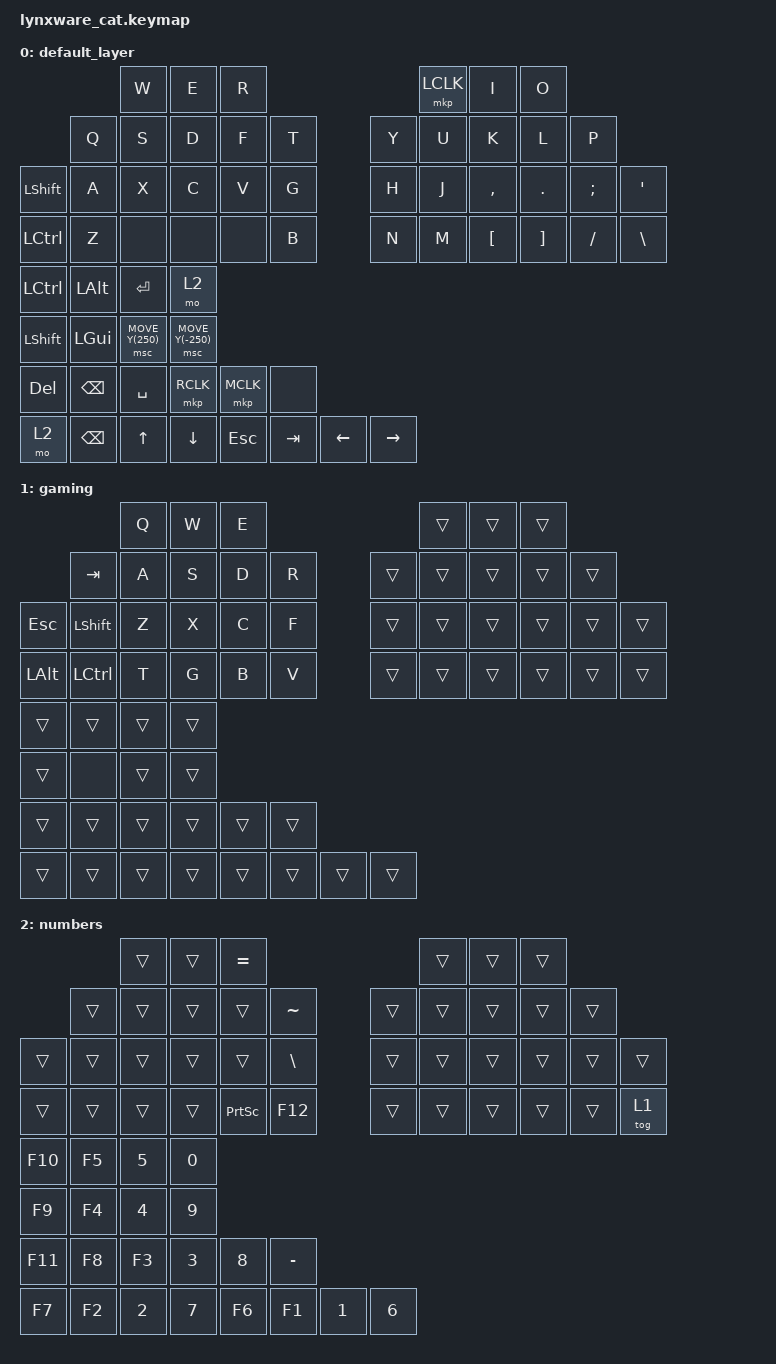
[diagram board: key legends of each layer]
#include <behaviors/mouse_key_toggle.dtsi>
#include <zephyr/dt-bindings/input/input-event-codes.h>
#include <dt-bindings/zmk/mouse.h>
#include <dt-bindings/zmk/modifiers.h>
#include <behaviors.dtsi>
#include <dt-bindings/zmk/keys.h>
#include <dt-bindings/zmk/pointing.h>

&soft_off { hold-time-ms = <3000>; };

&mt {
    flavor = "balanced";
    require-prior-idle-ms = <200>;
    tapping-term-ms = <200>;
    quick-tap-ms = <175>;
};

&msc {
    delay-ms = <0>;
    time-to-max-speed-ms = <40>;
    acceleration-exponent = <1>;
};

/ {
    keymap {
        compatible = "zmk,keymap";

        default_layer {
            bindings = <
                               &kp W            &kp E             &kp R                                              &mkp LCLK  &kp I      &kp O
                &kp Q          &kp S            &kp D             &kp F       &kp T                           &kp Y  &kp U      &kp K      &kp L     &kp P
&kp LSHFT       &kp A          &kp X            &kp C             &kp V       &kp G                           &kp H  &kp J      &kp COMMA  &kp DOT   &kp SEMI  &kp SQT
&kp LCTRL       &kp Z          &none            &none             &none       &kp B                           &kp N  &kp M      &kp LBKT   &kp RBKT  &kp FSLH  &kp BACKSLASH
&kp LCTRL       &kp LEFT_ALT   &kp ENTER        &mo 2
&kp LEFT_SHIFT  &kp LGUI       &msc MOVE_Y(250)  &msc MOVE_Y(-250)
&kp DELETE      &kp BACKSPACE  &kp SPACE        &mkp RCLK         &mkp MCLK   &none
&mo 2           &kp BACKSPACE  &kp UP           &kp DOWN          &kp ESCAPE  &kp TAB  &kp LEFT  &kp RIGHT
            >;
        };

        gaming {
            bindings = <
                         &kp Q   &kp W   &kp E                                     &trans  &trans  &trans
              &kp TAB    &kp A   &kp S   &kp D   &kp R                     &trans  &trans  &trans  &trans  &trans
&kp ESC       &kp LSHFT  &kp Z   &kp X   &kp C   &kp F                     &trans  &trans  &trans  &trans  &trans  &trans
&kp LEFT_ALT  &kp LCTRL  &kp T   &kp G   &kp B   &kp V                     &trans  &trans  &trans  &trans  &trans  &trans
&trans        &trans     &trans  &trans
&trans        &none      &trans  &trans
&trans        &trans     &trans  &trans  &trans  &trans
&trans        &trans     &trans  &trans  &trans  &trans  &trans  &trans
            >;
        };

        numbers {
            bindings = <
                 &trans  &trans  &kp EQUAL                                                 &trans  &trans  &trans
         &trans  &trans  &trans  &trans           &kp TILDE                        &trans  &trans  &trans  &trans  &trans
&trans   &trans  &trans  &trans  &trans           &kp BACKSLASH                    &trans  &trans  &trans  &trans  &trans  &trans
&trans   &trans  &trans  &trans  &kp PRINTSCREEN  &kp F12                          &trans  &trans  &trans  &trans  &trans  &tog 1
&kp F10  &kp F5  &kp N5  &kp N0
&kp F9   &kp F4  &kp N4  &kp N9
&kp F11  &kp F8  &kp F3  &kp N3  &kp N8           &kp MINUS
&kp F7   &kp F2  &kp N2  &kp N7  &kp F6           &kp F1         &kp N1  &kp N6
            >;
        };
    };
};
